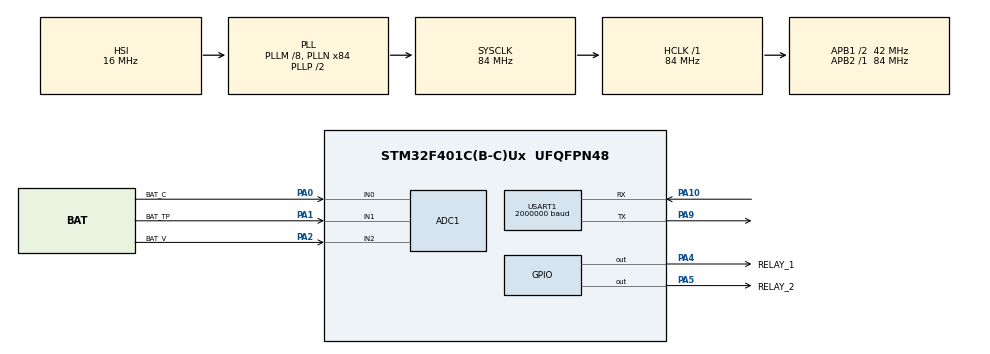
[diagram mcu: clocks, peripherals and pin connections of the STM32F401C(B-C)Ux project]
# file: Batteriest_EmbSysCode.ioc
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ADC1.Channel-0\#ChannelRegularConversion=ADC_CHANNEL_VREFINT
ADC1.ContinuousConvMode=ENABLE
ADC1.EnableAnalogWatchDog=false
ADC1.NbrOfConversionFlag=1
ADC1.Rank-0\#ChannelRegularConversion=1
ADC1.SamplingTime-0\#ChannelRegularConversion=ADC_SAMPLETIME_56CYCLES
ADC1.ScanConvMode=ENABLE
ADC1.master=1
Dma.Request0=USART1_RX
Dma.USART1_RX.0.Direction=DMA_PERIPH_TO_MEMORY
Dma.USART1_RX.0.FIFOMode=DMA_FIFOMODE_DISABLE
Dma.USART1_RX.0.Instance=DMA2_Stream2
Dma.USART1_RX.0.MemDataAlignment=DMA_MDATAALIGN_BYTE
Dma.USART1_RX.0.MemInc=DMA_MINC_ENABLE
Dma.USART1_RX.0.Mode=DMA_NORMAL
Dma.USART1_RX.0.PeriphDataAlignment=DMA_PDATAALIGN_BYTE
Dma.USART1_RX.0.PeriphInc=DMA_PINC_DISABLE
Dma.USART1_RX.0.Priority=DMA_PRIORITY_LOW
Mcu.Family=STM32F4
Mcu.Name=STM32F401C(B-C)Ux
Mcu.Package=UFQFPN48
NVIC.DMA2_Stream2_IRQn=true\:0\:0\:false\:false\:true\:false\:true\:true
NVIC.PriorityGroup=NVIC_PRIORITYGROUP_4
NVIC.TIM1_UP_TIM10_IRQn=true\:0\:0\:false\:false\:true\:true\:true\:true
NVIC.USART1_IRQn=true\:0\:0\:false\:false\:true\:true\:true\:true
PA0-WKUP.GPIO_Label=BAT_C
PA0-WKUP.Signal=ADCx_IN0
PA1.GPIO_Label=BAT_TP
PA1.Signal=ADCx_IN1
PA10.Mode=Asynchronous
PA10.Signal=USART1_RX
PA13.Mode=Serial_Wire
PA13.Signal=SYS_JTMS-SWDIO
PA14.Mode=Serial_Wire
PA14.Signal=SYS_JTCK-SWCLK
PA2.GPIO_Label=BAT_V
PA2.Signal=ADCx_IN2
PA4.GPIO_Label=RELAY_1
PA4.Signal=GPIO_Output
PA5.GPIO_Label=RELAY_2
PA5.Signal=GPIO_Output
PA9.Mode=Asynchronous
PA9.Signal=USART1_TX
PH0\ -\ OSC_IN.Mode=HSE-External-Oscillator
PH0\ -\ OSC_IN.Signal=RCC_OSC_IN
PH1\ -\ OSC_OUT.Mode=HSE-External-Oscillator
PH1\ -\ OSC_OUT.Signal=RCC_OSC_OUT
ProjectManager.HeapSize=0x200
ProjectManager.StackSize=0x400
ProjectManager.TargetToolchain=STM32CubeIDE
RCC.48MHZClocksFreq_Value=42000000
RCC.AHBFreq_Value=84000000
RCC.APB1CLKDivider=RCC_HCLK_DIV2
RCC.APB1Freq_Value=42000000
RCC.APB1TimFreq_Value=84000000
RCC.APB2Freq_Value=84000000
RCC.APB2TimFreq_Value=84000000
RCC.CortexFreq_Value=84000000
RCC.HCLKFreq_Value=84000000
RCC.HSE_VALUE=25000000
RCC.HSI_VALUE=16000000
RCC.LSE_VALUE=32768
RCC.PLLM=8
RCC.PLLN=84
RCC.SYSCLKFreq_VALUE=84000000
RCC.SYSCLKSource=RCC_SYSCLKSOURCE_PLLCLK
RCC.VCOOutputFreq_Value=168000000
SH.ADCx_IN0.0=ADC1_IN0,IN0
SH.ADCx_IN1.0=ADC1_IN1,IN1
SH.ADCx_IN2.0=ADC1_IN2,IN2
TIM1.AutoReloadPreload=TIM_AUTORELOAD_PRELOAD_ENABLE
TIM1.Period=2-1
TIM1.Prescaler=42000-1
TIM1.TIM_MasterOutputTrigger=TIM_TRGO_UPDATE
USART1.BaudRate=2000000
USART1.VirtualMode=VM_ASYNC
VP_ADC1_Vref_Input.Mode=IN-Vrefint
VP_TIM1_VS_ClockSourceINT.Mode=Internal
board=custom

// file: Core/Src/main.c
/* USER CODE BEGIN Header */
/**
 ******************************************************************************
 * @file           : main.c
 * @brief          : Main program body
 ******************************************************************************
 * @attention
 *
 * Copyright (c) 2023 STMicroelectronics.
 * All rights reserved.
 *
 * This software is licensed under terms that can be found in the LICENSE file
 * in the root directory of this software component.
 * If no LICENSE file comes with this software, it is provided AS-IS.
 *
 ******************************************************************************
 */
/* USER CODE END Header */
#include "main.h"

ADC_HandleTypeDef hadc1;

TIM_HandleTypeDef htim1;

UART_HandleTypeDef huart1;
DMA_HandleTypeDef hdma_usart1_rx;

/* USER CODE BEGIN PV */
usart_t usart;
batValue_t batValue;
relayStatus_e relayStatus = relayStatus_Idle;

bool dch_m2 = true;
bool adc_buf = false;
bool falan = false;

uint8_t count = 0;

float lts_Vsamp = 0.07412;
float Vrefint = 3.142, Crefint = 2.51;

uint16_t adc_voltage_value[NOS], adc_current_value[NOS], adc_vrefint_value[NOS],
		adc_crefint_value[NOS];
uint16_t adc_temp, adc_voltage, adc_current;
/* USER CODE END PV */

void SystemClock_Config(void);
static void MX_GPIO_Init(void);
static void MX_DMA_Init(void);
static void MX_TIM1_Init(void);
static void MX_ADC1_Init(void);
static void MX_USART1_UART_Init(void);

/* USER CODE BEGIN 0 */

// ADC CHANNEL CONFIGURATIONS (MULTI-CHANNEL WITHOUT DMA) //
void ADC_Select_Current() {
	ADC_ChannelConfTypeDef sConfig = { 0 };

	sConfig.Channel = ADC_CHANNEL_0;
	sConfig.Rank = 1;
	sConfig.SamplingTime = ADC_SAMPLETIME_15CYCLES;

	if (HAL_ADC_ConfigChannel(&hadc1, &sConfig) != HAL_OK) {
		Error_Handler();
	}
}
void ADC_Select_Temp() {
	ADC_ChannelConfTypeDef sConfig = { 0 };

	sConfig.Channel = ADC_CHANNEL_1;
	sConfig.Rank = 1;
	sConfig.SamplingTime = ADC_SAMPLETIME_15CYCLES;

	if (HAL_ADC_ConfigChannel(&hadc1, &sConfig) != HAL_OK) {
		Error_Handler();
	}
}

void ADC_Select_Voltage() {
	ADC_ChannelConfTypeDef sConfig = { 0 };

	sConfig.Channel = ADC_CHANNEL_2;
	sConfig.Rank = 1;
	sConfig.SamplingTime = ADC_SAMPLETIME_15CYCLES;

	if (HAL_ADC_ConfigChannel(&hadc1, &sConfig) != HAL_OK) {
		Error_Handler();
	}
}
void ADC_Select_Vrefint() {
	ADC_ChannelConfTypeDef sConfig = { 0 };

	sConfig.Channel = ADC_CHANNEL_VREFINT;
	sConfig.Rank = 1;
	sConfig.SamplingTime = ADC_SAMPLETIME_15CYCLES;

	if (HAL_ADC_ConfigChannel(&hadc1, &sConfig) != HAL_OK) {
		Error_Handler();
	}
}
//END CODE OF ADC CHANNEL CONFIGURATIONS (MULTI-CHANNEL WITHOUT DMA) //

// READING AND PROCESSING ADC VALUES WITH MOVING AVERAGE //
uint16_t Get_ADC_Value() {
	uint16_t adc_value = 0;

	HAL_ADC_Start(&hadc1);
	if (HAL_ADC_PollForConversion(&hadc1, 1) == HAL_OK) {
		adc_value = HAL_ADC_GetValue(&hadc1);
	}
	HAL_ADC_Stop(&hadc1);
	return adc_value;
}

float Get_ADC_MA_Vref(uint16_t *adc_vrefint_buffer) {
	uint64_t sum_adc_value = 0;
	uint8_t i = 0;
	for (; i < NOS; i++) {
		sum_adc_value = sum_adc_value + adc_vrefint_buffer[i];
	}
	return sum_adc_value / NOS;
}

float Get_ADC_Voltage(float raw_voltage) {
	return (raw_voltage / 4095.0) * Vrefint * 2.0 * 1.03;
}

float Get_ADC_Vrefint(float raw_vrefint) {
	return (raw_vrefint / *VREFIN_CAL) * Vrefint;
}
float Get_ADC_Crefint(float raw_crefint) {
	return (raw_crefint / 4095.0) * Vrefint * 2.0;
}

float Get_ADC_Current(float raw_current) {
	return (((raw_current / 4095.0) * Vrefint * 2.0) - Crefint) / (lts_Vsamp);
}

double Get_ADC_Temp(uint16_t adc_value) {
	double temp;
	temp = log(((40950000 / adc_value) - 10000));
	temp = 1
			/ (0.001129148
					+ (0.000234125 + (0.0000000876741 * temp * temp)) * temp);
	temp = temp - 273.15;
	return temp;
}

//float Get_ADC_Moving_Average(uint16_t *adc_value_buffer) {
//	float sum_adc_value = 0;
//	uint8_t i = 0;
//	for (; i < NOS; i++) {
//		sum_adc_value = sum_adc_value + adc_value_buffer[i];
//
//	}
//	sum_adc_value = sum_adc_value / NOS;
//	return (sum_adc_value / 4095.0) * Vrefint * 2.0;
//}
// END CODE OF READING AND PROCESSING ADC VALUES WITH MOVING AVERAGE //

void Calibration_ADC() {
	ADC_Select_Vrefint();
	for (int var = 0; var < NOS; ++var) {
		adc_vrefint_value[var] = Get_ADC_Vrefint(Get_ADC_Value());
	}
	Vrefint = Get_ADC_MA_Vref(adc_vrefint_value);
	ADC_Select_Current();
	for (int var = 0; var < NOS; ++var) {
		adc_crefint_value[var] = Get_ADC_Crefint(Get_ADC_Value());
	}
	if (batValue.current > 0) {
		Crefint = Crefint + 0.0005;
	} else if (batValue.current < 0) {
		Crefint = Crefint - 0.0005;
	}

}

// RELAY (GPIO CHANNEL) CONFIGURATIONS //
void Bat_Relay_Cmd() {
	switch (relayStatus) {
	case relayStatus_Idle:
		HAL_GPIO_WritePin(RELAY_1_GPIO_Port, RELAY_1_Pin, GPIO_PIN_SET);
		HAL_GPIO_WritePin(RELAY_2_GPIO_Port, RELAY_2_Pin, GPIO_PIN_SET);
		HAL_Delay(100);
		dch_m2 = false;
		falan = true;
		break;
	case relayStatus_Charge:
		HAL_GPIO_WritePin(RELAY_1_GPIO_Port, RELAY_1_Pin, GPIO_PIN_RESET);
		HAL_GPIO_WritePin(RELAY_2_GPIO_Port, RELAY_2_Pin, GPIO_PIN_SET);
		HAL_Delay(100);
		dch_m2 = false;
		break;
	case relayStatus_Discharge_M1:
		HAL_GPIO_WritePin(RELAY_1_GPIO_Port, RELAY_1_Pin, GPIO_PIN_SET);
		HAL_GPIO_WritePin(RELAY_2_GPIO_Port, RELAY_2_Pin, GPIO_PIN_RESET);
		HAL_Delay(100);
		dch_m2 = false;
		break;
	case relayStatus_Discharge_M2:
		HAL_GPIO_WritePin(RELAY_1_GPIO_Port, RELAY_1_Pin, GPIO_PIN_SET);
		HAL_GPIO_WritePin(RELAY_2_GPIO_Port, RELAY_2_Pin, GPIO_PIN_RESET);
		HAL_Delay(100);
		dch_m2 = true;
		break;
	}
}
// END OF RELAY (GPIO CHANNEL) CONFIGURATIONS //

// UART RECEIVE DATA CONFIGURATIONS //
void UART_Cmd(char *cmd) {
	if (!strcmp(cmd, IDLE)) {
		relayStatusChange(relayStatus_Idle);
	} else if (!strcmp(cmd, CHARGE)) {
		relayStatusChange(relayStatus_Charge);
	} else if (!strcmp(cmd, DISCHARGE_M1)) {
		relayStatusChange(relayStatus_Discharge_M1);
	} else if (!strcmp(cmd, DISCHARGE_M2)) {
		relayStatusChange(relayStatus_Discharge_M2);
	}
}
void HAL_UARTEx_RxEventCallback(UART_HandleTypeDef *huart, uint16_t Size) {
	if (huart->Instance == USART1) {
		HAL_UARTEx_ReceiveToIdle_DMA(&huart1, (uint8_t*) usart.rx_data, 20);
		__HAL_DMA_DISABLE_IT(&hdma_usart1_rx, DMA_IT_HT);
		for (uint8_t i = Size; i < 20; i++) {
			usart.rx_data[i] = 0;
		}
		usart.received = true;
	}
}
// END CODE OF UART RECEIVE DATA CONFIGURATIONS //

// UART TRANSMIT DATA CONFIGURATIONS //
void HAL_TIM_PeriodElapsedCallback(TIM_HandleTypeDef *htim) {
	if (htim->Instance == htim1.Instance) {
		if (dch_m2 == false) {
			usart.transtick++;
			if (usart.transtick >= 1000) {
				HAL_UART_Transmit(&huart1, usart.tx_data, sizeof(usart.tx_data),
						1);
				usart.transtick = 0;
			}
		} else if (dch_m2 == true) {
			usart.transtick++;
			if (usart.transtick >= 1) {
				HAL_UART_Transmit(&huart1, usart.tx_data, sizeof(usart.tx_data),
						1);
				usart.transtick = 0;
			}
		}
	}
}
// END CODE OF UART TRANSMIT DATA CONFIGURATIONS //
/* USER CODE END 0 */

int main(void) {

	/* MCU Configuration--------------------------------------------------------*/

	/* Reset of all peripherals, Initializes the Flash interface and the Systick. */
	HAL_Init();

	/* Configure the system clock */
	SystemClock_Config();

	/* Initialize all configured peripherals */
	MX_GPIO_Init();
	MX_DMA_Init();
	MX_TIM1_Init();
	MX_ADC1_Init();
	MX_USART1_UART_Init();
	/* USER CODE BEGIN 2 */
	Bat_Relay_Cmd(relayStatus);
	HAL_TIM_Base_Start_IT(&htim1);
	HAL_UARTEx_ReceiveToIdle_DMA(&huart1, (uint8_t*) usart.rx_data, 20);
	__HAL_DMA_DISABLE_IT(&hdma_usart1_rx, DMA_IT_HT);
	/* USER CODE END 2 */

	/* Infinite loop */
	/* USER CODE BEGIN WHILE */
	while (1) {

		switch (dch_m2) {
		case true:
			ADC_Select_Temp();
			batValue.temp = Get_ADC_Temp(Get_ADC_Value());
			ADC_Select_Voltage();
			batValue.voltage = Get_ADC_Voltage(Get_ADC_Value());
			ADC_Select_Current();
			batValue.current = Get_ADC_Current(Get_ADC_Value());
			sprintf((char*) usart.tx_data, "%d,%1.3f,%1.3f,%1.3f\n",
					relayStatus, batValue.voltage, batValue.current,
					batValue.temp);
			break;
		case false:
			ADC_Select_Temp();
			batValue.temp = Get_ADC_Temp(Get_ADC_Value());
			ADC_Select_Voltage();
			adc_voltage_value[count] = Get_ADC_Value();
			ADC_Select_Current();
			adc_current_value[count] = Get_ADC_Value();
			count++;
			if (count == NOS) {
				count = 0;
				adc_buf = true;
			}
			if (adc_buf == true) {
				batValue.voltage = Get_ADC_Voltage(
						Get_ADC_MA_Vref(adc_voltage_value));
				batValue.current = Get_ADC_Current(
						Get_ADC_MA_Vref(adc_current_value));
				sprintf((char*) usart.tx_data, "%d,%1.3f,%1.3f,%1.3f\n",
						relayStatus, batValue.voltage, batValue.current,
						batValue.temp);
			}
			if (falan) {
				Calibration_ADC();
			}
			break;

		}
		// END CODE OF READING ADC USING MOVING AVERAGE METHOD (WITHOUT DMA) //

		// UART RECEIVE DATA WHILE CODE //
		if (usart.received) {
			UART_Cmd(usart.rx_data);
			Bat_Relay_Cmd(relayStatus);
			usart.received = false;
		}
		// END CODE UART RECEIVE DATA WHILE CODE //
		/* USER CODE END WHILE */

	}
}

void SystemClock_Config(void) {
	RCC_OscInitTypeDef RCC_OscInitStruct = { 0 };
	RCC_ClkInitTypeDef RCC_ClkInitStruct = { 0 };

	/** Configure the main internal regulator output voltage
	 */
	__HAL_RCC_PWR_CLK_ENABLE();
	__HAL_PWR_VOLTAGESCALING_CONFIG(PWR_REGULATOR_VOLTAGE_SCALE2);

	/** Initializes the RCC Oscillators according to the specified parameters
	 * in the RCC_OscInitTypeDef structure.
	 */
	RCC_OscInitStruct.OscillatorType = RCC_OSCILLATORTYPE_HSI;
	RCC_OscInitStruct.HSIState = RCC_HSI_ON;
	RCC_OscInitStruct.HSICalibrationValue = RCC_HSICALIBRATION_DEFAULT;
	RCC_OscInitStruct.PLL.PLLState = RCC_PLL_ON;
	RCC_OscInitStruct.PLL.PLLSource = RCC_PLLSOURCE_HSI;
	RCC_OscInitStruct.PLL.PLLM = 8;
	RCC_OscInitStruct.PLL.PLLN = 84;
	RCC_OscInitStruct.PLL.PLLP = RCC_PLLP_DIV2;
	RCC_OscInitStruct.PLL.PLLQ = 4;
	if (HAL_RCC_OscConfig(&RCC_OscInitStruct) != HAL_OK) {
		Error_Handler();
	}

	/** Initializes the CPU, AHB and APB buses clocks
	 */
	RCC_ClkInitStruct.ClockType = RCC_CLOCKTYPE_HCLK | RCC_CLOCKTYPE_SYSCLK
			| RCC_CLOCKTYPE_PCLK1 | RCC_CLOCKTYPE_PCLK2;
	RCC_ClkInitStruct.SYSCLKSource = RCC_SYSCLKSOURCE_PLLCLK;
	RCC_ClkInitStruct.AHBCLKDivider = RCC_SYSCLK_DIV1;
	RCC_ClkInitStruct.APB1CLKDivider = RCC_HCLK_DIV2;
	RCC_ClkInitStruct.APB2CLKDivider = RCC_HCLK_DIV1;

	if (HAL_RCC_ClockConfig(&RCC_ClkInitStruct, FLASH_LATENCY_2) != HAL_OK) {
		Error_Handler();
	}
}

static void MX_ADC1_Init(void) {

	/** Configure the global features of the ADC (Clock, Resolution, Data Alignment and number of conversion)
	 */
	hadc1.Instance = ADC1;
	hadc1.Init.ClockPrescaler = ADC_CLOCK_SYNC_PCLK_DIV4;
	hadc1.Init.Resolution = ADC_RESOLUTION_12B;
	hadc1.Init.ScanConvMode = ENABLE;
	hadc1.Init.ContinuousConvMode = ENABLE;
	hadc1.Init.DiscontinuousConvMode = DISABLE;
	hadc1.Init.ExternalTrigConvEdge = ADC_EXTERNALTRIGCONVEDGE_NONE;
	hadc1.Init.ExternalTrigConv = ADC_SOFTWARE_START;
	hadc1.Init.DataAlign = ADC_DATAALIGN_RIGHT;
	hadc1.Init.NbrOfConversion = 1;
	hadc1.Init.DMAContinuousRequests = DISABLE;
	hadc1.Init.EOCSelection = ADC_EOC_SINGLE_CONV;
	if (HAL_ADC_Init(&hadc1) != HAL_OK) {
		Error_Handler();
	}

	/** Configure for the selected ADC regular channel its corresponding rank in the sequencer and its sample time.
	 */

}

static void MX_TIM1_Init(void) {

	TIM_ClockConfigTypeDef sClockSourceConfig = { 0 };
	TIM_MasterConfigTypeDef sMasterConfig = { 0 };

	htim1.Instance = TIM1;
	htim1.Init.Prescaler = 42000 - 1;
	htim1.Init.CounterMode = TIM_COUNTERMODE_UP;
	htim1.Init.Period = 2 - 1;
	htim1.Init.ClockDivision = TIM_CLOCKDIVISION_DIV1;
	htim1.Init.RepetitionCounter = 0;
	htim1.Init.AutoReloadPreload = TIM_AUTORELOAD_PRELOAD_ENABLE;
	if (HAL_TIM_Base_Init(&htim1) != HAL_OK) {
		Error_Handler();
	}
	sClockSourceConfig.ClockSource = TIM_CLOCKSOURCE_INTERNAL;
	if (HAL_TIM_ConfigClockSource(&htim1, &sClockSourceConfig) != HAL_OK) {
		Error_Handler();
	}
	sMasterConfig.MasterOutputTrigger = TIM_TRGO_UPDATE;
	sMasterConfig.MasterSlaveMode = TIM_MASTERSLAVEMODE_DISABLE;
	if (HAL_TIMEx_MasterConfigSynchronization(&htim1, &sMasterConfig)
			!= HAL_OK) {
		Error_Handler();
	}

}

static void MX_USART1_UART_Init(void) {

	huart1.Instance = USART1;
	huart1.Init.BaudRate = 2000000;
	huart1.Init.WordLength = UART_WORDLENGTH_8B;
	huart1.Init.StopBits = UART_STOPBITS_1;
	huart1.Init.Parity = UART_PARITY_NONE;
	huart1.Init.Mode = UART_MODE_TX_RX;
	huart1.Init.HwFlowCtl = UART_HWCONTROL_NONE;
	huart1.Init.OverSampling = UART_OVERSAMPLING_16;
	if (HAL_UART_Init(&huart1) != HAL_OK) {
		Error_Handler();
	}

}

static void MX_DMA_Init(void) {

	/* DMA controller clock enable */
	__HAL_RCC_DMA2_CLK_ENABLE();

	/* DMA interrupt init */
	/* DMA2_Stream2_IRQn interrupt configuration */
	HAL_NVIC_SetPriority(DMA2_Stream2_IRQn, 0, 0);
	HAL_NVIC_EnableIRQ(DMA2_Stream2_IRQn);

}

static void MX_GPIO_Init(void) {
	GPIO_InitTypeDef GPIO_InitStruct = { 0 };

	/* GPIO Ports Clock Enable */
	__HAL_RCC_GPIOH_CLK_ENABLE();
	__HAL_RCC_GPIOA_CLK_ENABLE();

	/*Configure GPIO pin Output Level */
	HAL_GPIO_WritePin(GPIOA, RELAY_1_Pin | RELAY_2_Pin, GPIO_PIN_RESET);

	/*Configure GPIO pins : RELAY_1_Pin RELAY_2_Pin */
	GPIO_InitStruct.Pin = RELAY_1_Pin | RELAY_2_Pin;
	GPIO_InitStruct.Mode = GPIO_MODE_OUTPUT_PP;
	GPIO_InitStruct.Pull = GPIO_NOPULL;
	GPIO_InitStruct.Speed = GPIO_SPEED_FREQ_LOW;
	HAL_GPIO_Init(GPIOA, &GPIO_InitStruct);

}

void Error_Handler(void) {
	__disable_irq();
	while (1) {
	}
}
